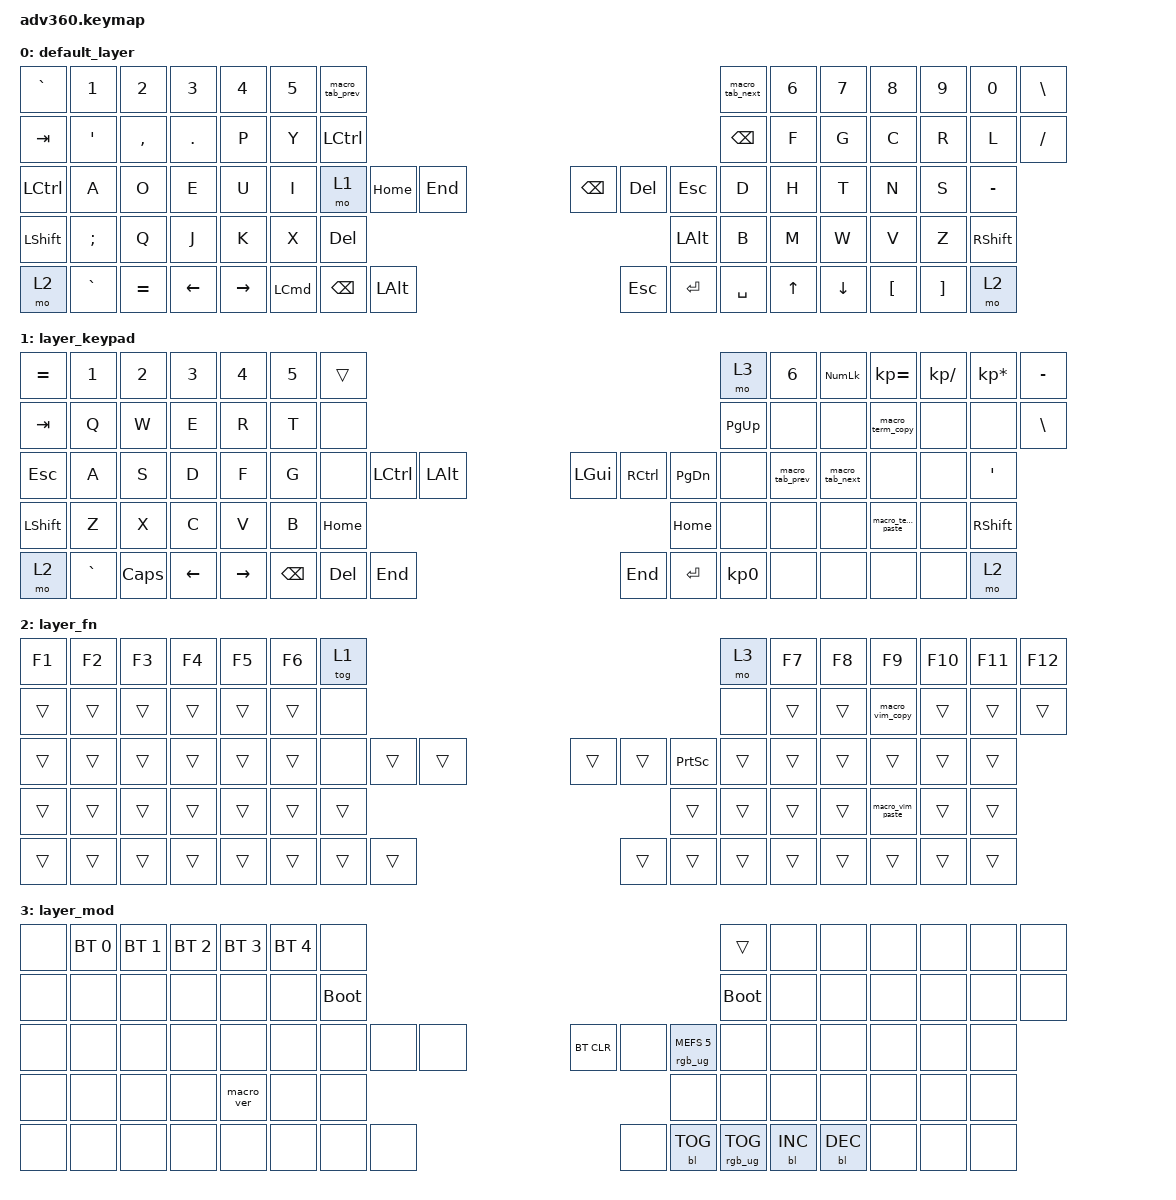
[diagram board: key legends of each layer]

/*
 * Copyright (c) 2020 The ZMK Contributors
 *
 * SPDX-License-Identifier: MIT
 */


/* THIS FILE WAS GENERATED!
 *
 * This file was generated automatically. You may or may not want to
 * edit it directly.
 */

#include <behaviors.dtsi>
#include <dt-bindings/zmk/keys.h>
#include <dt-bindings/zmk/bt.h>
#include <dt-bindings/zmk/rgb.h>
#include <dt-bindings/zmk/backlight.h>

/ {
  behaviors {
    #include "macros.dtsi"
    #include "version.dtsi"

    hm: homerow_mods {
        compatible = "zmk,behavior-hold-tap";
        label = "HOMEROW_MODS";
        #binding-cells = <2>;
        tapping-term-ms = <200>;
        quick_tap_ms = <175>;
        flavor = "tap-preferred";
        bindings = <&kp>, <&kp>;
    };
  };

    keymap {
        compatible = "zmk,keymap";


        default_layer {
            bindings = <
 &kp GRAVE            &kp N1     &kp N2      &kp N3     &kp N4  &kp N5             &macro_tab_prev                                                                          &macro_tab_next  &kp N6  &kp N7    &kp N8    &kp N9    &kp N0  &kp BACKSLASH
   &kp TAB  &kp SINGLE_QUOTE  &kp COMMA  &kp PERIOD      &kp P   &kp Y                   &kp LCTRL                                                                            &kp BACKSPACE   &kp F   &kp G     &kp C     &kp R     &kp L       &kp FSLH
 &kp LCTRL             &kp A      &kp O       &kp E      &kp U   &kp I                       &mo 1       &kp HOME       &kp END                  &kp BACKSPACE  &kp DELETE          &kp ESC   &kp D   &kp H     &kp T     &kp N     &kp S      &kp MINUS
 &kp LSHFT     &kp SEMICOLON      &kp Q       &kp J      &kp K   &kp X                                                  &kp DEL                       &kp LALT                                &kp B   &kp M     &kp W     &kp V     &kp Z      &kp RSHFT
     &mo 2         &kp GRAVE  &kp EQUAL    &kp LEFT  &kp RIGHT                    &kp LEFT_COMMAND  &kp BACKSPACE  &kp LEFT_ALT                        &kp ESC   &kp ENTER        &kp SPACE          &kp UP  &kp DOWN  &kp LBKT  &kp RBKT          &mo 2
            >;
        };

        layer_keypad {
            bindings = <
 &kp EQUAL     &kp N1    &kp N2    &kp N3     &kp N4  &kp N5              &trans                                                                &mo 3  &kp N6       &kp KP_NUM      &kp KP_EQUAL      &kp KP_DIVIDE  &kp KP_MULTIPLY  &kp MINUS
   &kp TAB      &kp Q     &kp W     &kp E      &kp R   &kp T               &none                                                            &kp PG_UP   &none            &none  &macro_term_copy              &none            &none   &kp BSLH
   &kp ESC      &kp A     &kp S     &kp D      &kp F   &kp G               &none  &kp LCTRL  &kp LALT                  &kp LGUI  &kp RCTRL  &kp PG_DN   &none  &macro_tab_prev   &macro_tab_next              &none            &none    &kp SQT
 &kp LSHFT      &kp Z     &kp X     &kp C      &kp V   &kp B                                 &kp HOME                  &kp HOME                         &none            &none             &none  &macro_term_paste            &none  &kp RSHFT
     &mo 2  &kp GRAVE  &kp CAPS  &kp LEFT  &kp RIGHT                    &kp BSPC    &kp DEL   &kp END                   &kp END  &kp ENTER  &kp KP_N0                    &none             &none              &none            &none      &mo 2
            >;
        };

        layer_fn {
            bindings = <
 &kp F1  &kp F2  &kp F3  &kp F4  &kp F5  &kp F6            &tog 1                                                            &mo 3  &kp F7  &kp F8           &kp F9           &kp F10  &kp F11  &kp F12
 &trans  &trans  &trans  &trans  &trans  &trans             &none                                                            &none  &trans  &trans  &macro_vim_copy            &trans   &trans   &trans
 &trans  &trans  &trans  &trans  &trans  &trans             &none  &trans  &trans                  &trans  &trans  &kp PRINTSCREEN  &trans  &trans           &trans            &trans   &trans   &trans
 &trans  &trans  &trans  &trans  &trans  &trans                            &trans                  &trans                           &trans  &trans           &trans  &macro_vim_paste   &trans   &trans
 &trans  &trans  &trans  &trans  &trans                    &trans  &trans  &trans                  &trans  &trans           &trans          &trans           &trans            &trans   &trans   &trans
            >;
        };

        layer_mod {
            bindings = <
  &none  &bt BT_SEL 0  &bt BT_SEL 1  &bt BT_SEL 2  &bt BT_SEL 3  &bt BT_SEL 4                  &none                                                                          &trans   &none       &none       &none   &none   &none   &none
  &none         &none         &none         &none         &none         &none            &bootloader                                                                     &bootloader   &none       &none       &none   &none   &none   &none
  &none         &none         &none         &none         &none         &none                  &none   &none   &none                  &bt BT_CLR       &none  &rgb_ug RGB_MEFS_CMD 5   &none       &none       &none   &none   &none   &none
  &none         &none         &none         &none    &macro_ver         &none                                  &none                       &none                                       &none       &none       &none   &none   &none   &none
  &none         &none         &none         &none         &none                                &none   &none   &none                       &none  &bl BL_TOG         &rgb_ug RGB_TOG          &bl BL_INC  &bl BL_DEC   &none   &none   &none
            >;
        };

    };
};
